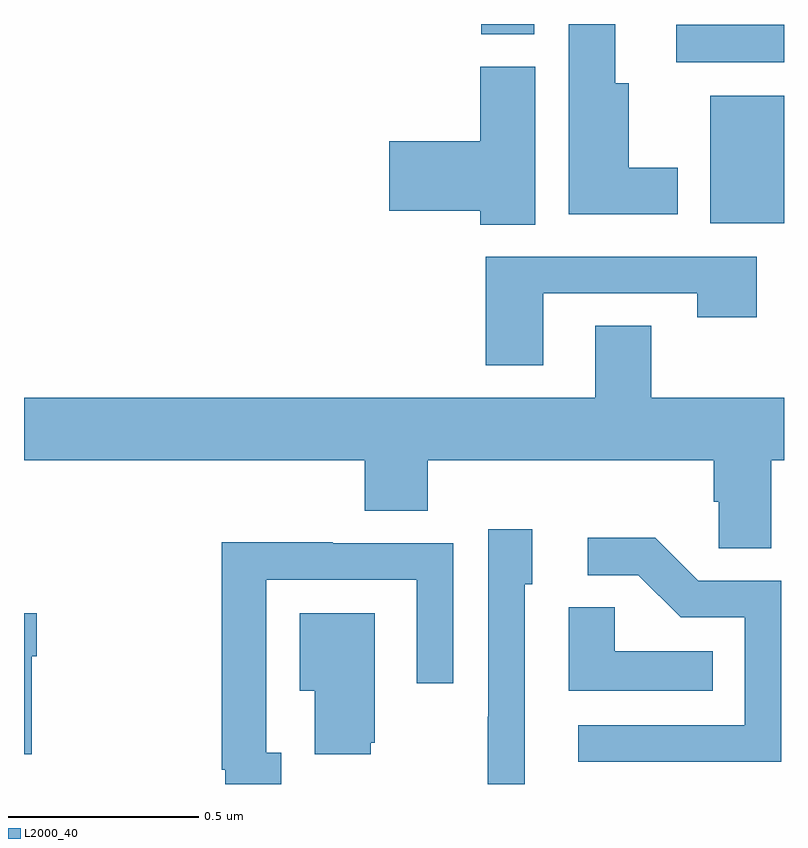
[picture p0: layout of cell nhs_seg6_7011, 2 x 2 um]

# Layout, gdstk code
import gdstk
lib = gdstk.Library(unit=1e-6, precision=1e-09)
def R(c, l, rs):  # rectangles x0, y0, x1, y1
    for r in rs: c.add(gdstk.rectangle(r[:2], r[2:], *l))
def P(c, l, *ps):  # polygons
    for p in ps: c.add(gdstk.Polygon(p, *l))
L2000_40 = (2000, 40)

nhs_seg6_7011 = lib.new_cell('nhs_seg6_7011')
R(nhs_seg6_7011, L2000_40, [(204.806,931.976,205,932.311), (204.717,932.4,205,932.498), (204.203,932.473,204.343,932.5)])
P(nhs_seg6_7011, L2000_40, [(204.721,932.122),(204.592,932.122),(204.592,932.344),(204.556,932.344),(204.556,932.5),(204.434,932.5),(204.434,932),(204.721,932)],
  [(204.346,932.388),(204.2,932.388),(204.2,932.192),(203.961,932.192),(203.961,932.009),(204.2,932.009),(204.2,931.972),(204.346,931.972)],
  [(204.367,931.791),(204.772,931.791),(204.772,931.728),(204.928,931.728),(204.928,931.887),(204.215,931.887),(204.215,931.602),(204.367,931.602)],
  [(204.967,931.352),(205,931.352),(205,931.516),(204.651,931.516),(204.651,931.706),(204.503,931.706),(204.503,931.516),(203,931.516),(203,931.352),(203.897,931.352),(203.897,931.219),(204.062,931.219),(204.062,931.352),(204.815,931.352),(204.815,931.243),(204.828,931.243),(204.828,931.12),(204.967,931.12)],
  [(204.318,931.026),(204.337,931.026),(204.337,931.171),(204.222,931.171),(204.222,930.677),(204.22,930.677),(204.22,930.5),(204.318,930.5)],
  [(204.993,931.035),(204.774,931.035),(204.661,931.148),(204.483,931.148),(204.483,931.05),(204.617,931.05),(204.728,930.939),(204.897,930.939),(204.897,930.654),(204.459,930.654),(204.459,930.558),(204.993,930.558)],
  [(203.677,930.582),(203.637,930.582),(203.637,931.038),(204.033,931.038),(204.033,930.765),(204.129,930.765),(204.129,931.134),(203.813,931.134),(203.813,931.136),(203.521,931.136),(203.521,930.538),(203.529,930.538),(203.529,930.5),(203.677,930.5)],
  [(204.812,930.85),(204.555,930.85),(204.555,930.965),(204.434,930.965),(204.434,930.746),(204.812,930.746)],
  [(203.02,930.836),(203.033,930.836),(203.033,930.949),(203,930.949),(203,930.578),(203.02,930.578)],
  [(203.912,930.609),(203.923,930.609),(203.923,930.949),(203.726,930.949),(203.726,930.746),(203.765,930.746),(203.765,930.578),(203.912,930.578)])

lib.write_gds('nhs_seg6_7011.gds')
